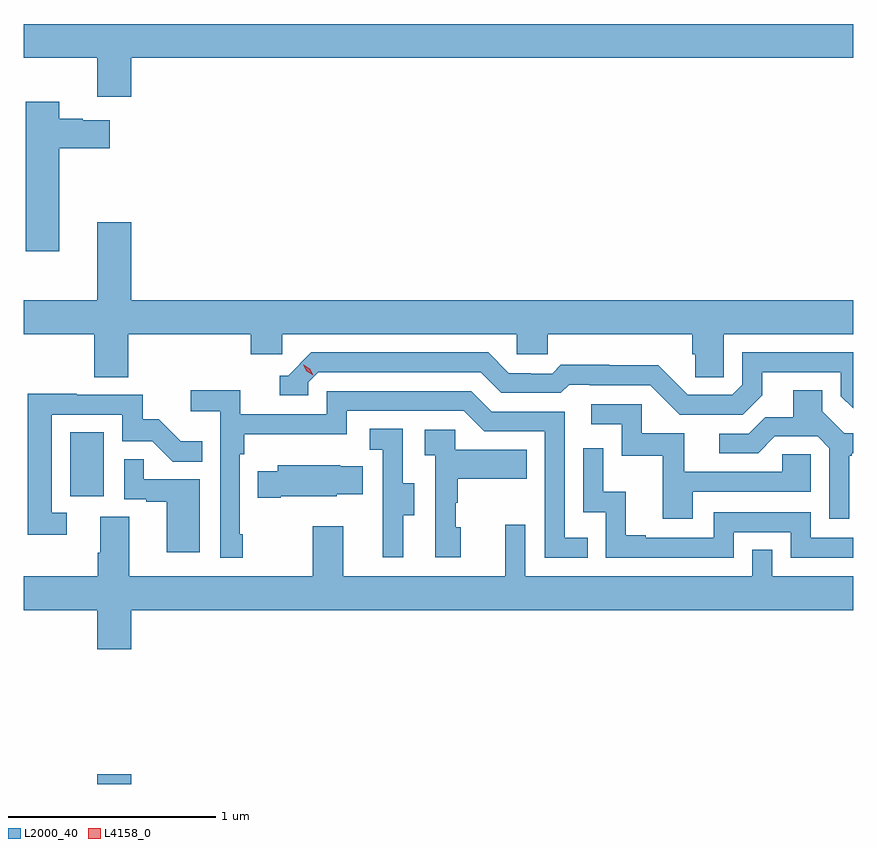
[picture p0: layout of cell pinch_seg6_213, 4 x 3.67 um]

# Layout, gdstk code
import gdstk
lib = gdstk.Library(unit=1e-6, precision=1e-09)
def R(c, l, rs):  # rectangles x0, y0, x1, y1
    for r in rs: c.add(gdstk.rectangle(r[:2], r[2:], *l))
def P(c, l, *ps):  # polygons
    for p in ps: c.add(gdstk.Polygon(p, *l))
L2000_40 = (2000, 40)
L4158_0 = (4158, 0)

pinch_seg6_213 = lib.new_cell('pinch_seg6_213')
R(pinch_seg6_213, L2000_40, [(1142.03,927.849,1142.194,927.895), (1141.898,929.238,1142.062,929.545)])
P(pinch_seg6_213, L2000_40, [(1142.194,931.352),(1145.676,931.352),(1145.676,931.516),(1141.676,931.516),(1141.676,931.352),(1142.03,931.352),(1142.03,931.164),(1142.194,931.164)],
  [(1141.846,930.917),(1142.089,930.917),(1142.089,931.051),(1141.959,931.051),(1141.959,931.059),(1141.846,931.059),(1141.846,931.141),(1141.685,931.141),(1141.685,930.42),(1141.846,930.42)],
  [(1142.18,930.02),(1142.771,930.02),(1142.771,929.922),(1142.922,929.922),(1142.922,930.02),(1144.053,930.02),(1144.053,929.922),(1144.203,929.922),(1144.203,930.02),(1144.901,930.02),(1144.901,929.922),(1144.915,929.922),(1144.915,929.812),(1145.052,929.812),(1145.052,930.02),(1145.676,930.02),(1145.676,930.184),(1142.194,930.184),(1142.194,930.559),(1142.03,930.559),(1142.03,930.184),(1141.676,930.184),(1141.676,930.02),(1142.015,930.02),(1142.015,929.812),(1142.18,929.812)],
  [(1145.239,929.725),(1145.239,929.835),(1145.616,929.835),(1145.616,929.721),(1145.676,929.661),(1145.676,929.931),(1145.142,929.931),(1145.142,929.775),(1145.094,929.727),(1144.878,929.727),(1144.736,929.869),(1144.5,929.869),(1144.5,929.872),(1144.267,929.872),(1144.225,929.829),(1144.122,929.829),(1144.122,929.832),(1144.015,929.832),(1143.916,929.931),(1143.063,929.931),(1142.952,929.82),(1142.909,929.82),(1142.909,929.724),(1143.048,929.724),(1143.048,929.787),(1143.096,929.835),(1143.879,929.835),(1143.978,929.736),(1144.267,929.736),(1144.306,929.775),(1144.405,929.775),(1144.405,929.772),(1144.698,929.772),(1144.839,929.631),(1145.145,929.631)],
  [(1145.659,929.433),(1145.671,929.433),(1145.671,929.444),(1145.676,929.444),(1145.676,929.541),(1145.634,929.541),(1145.527,929.648),(1145.527,929.75),(1145.387,929.75),(1145.387,929.618),(1145.252,929.618),(1145.172,929.538),(1145.031,929.538),(1145.031,929.445),(1145.218,929.445),(1145.299,929.526),(1145.505,929.526),(1145.562,929.469),(1145.562,929.13),(1145.659,929.13)],
  [(1142.731,929.053),(1142.718,929.053),(1142.718,929.441),(1142.738,929.441),(1142.738,929.537),(1143.234,929.537),(1143.234,929.649),(1143.798,929.649),(1143.897,929.55),(1144.188,929.55),(1144.188,928.941),(1144.397,928.941),(1144.397,929.037),(1144.284,929.037),(1144.284,929.646),(1143.934,929.646),(1143.835,929.745),(1143.138,929.745),(1143.138,929.634),(1142.72,929.634),(1142.72,929.75),(1142.481,929.75),(1142.481,929.648),(1142.622,929.648),(1142.622,928.941),(1142.731,928.941)],
  [(1141.882,929.157),(1141.809,929.157),(1141.809,929.631),(1142.151,929.631),(1142.151,929.502),(1142.295,929.502),(1142.393,929.404),(1142.537,929.404),(1142.537,929.503),(1142.433,929.503),(1142.326,929.61),(1142.25,929.61),(1142.25,929.727),(1141.931,929.727),(1141.931,929.732),(1141.693,929.732),(1141.693,929.052),(1141.882,929.052)],
  [(1144.903,929.259),(1145.472,929.259),(1145.472,929.439),(1145.335,929.439),(1145.335,929.355),(1144.861,929.355),(1144.861,929.541),(1144.656,929.541),(1144.656,929.682),(1144.413,929.682),(1144.413,929.586),(1144.56,929.586),(1144.56,929.433),(1144.759,929.433),(1144.759,929.13),(1144.903,929.13)],
  [(1143.505,929.146),(1143.559,929.146),(1143.559,929.301),(1143.504,929.301),(1143.504,929.564),(1143.345,929.564),(1143.345,929.461),(1143.408,929.461),(1143.408,929.157),(1143.407,929.157),(1143.407,928.944),(1143.505,928.944)],
  [(1143.784,929.088),(1143.759,929.088),(1143.759,929.207),(1143.769,929.207),(1143.769,929.321),(1144.103,929.321),(1144.103,929.461),(1143.756,929.461),(1143.756,929.559),(1143.609,929.559),(1143.609,929.435),(1143.66,929.435),(1143.66,928.944),(1143.784,928.944)],
  [(1145.1,929.064),(1145.376,929.064),(1145.376,928.941),(1145.676,928.941),(1145.676,929.037),(1145.472,929.037),(1145.472,929.16),(1145.004,929.16),(1145.004,929.037),(1144.675,929.037),(1144.675,929.05),(1144.58,929.05),(1144.58,929.258),(1144.47,929.258),(1144.47,929.47),(1144.374,929.47),(1144.374,929.16),(1144.482,929.16),(1144.482,928.941),(1145.1,928.941)],
  [(1142.524,929.319),(1142.255,929.319),(1142.255,929.417),(1142.16,929.417),(1142.16,929.223),(1142.267,929.223),(1142.267,929.211),(1142.366,929.211),(1142.366,928.968),(1142.524,928.968)],
  [(1142.914,929.237),(1143.186,929.237),(1143.186,929.246),(1143.311,929.246),(1143.311,929.383),(1143.203,929.383),(1143.203,929.386),(1142.901,929.386),(1142.901,929.359),(1142.803,929.359),(1142.803,929.23),(1142.914,929.23)],
  [(1142.194,928.688),(1145.676,928.688),(1145.676,928.852),(1145.286,928.852),(1145.286,928.979),(1145.19,928.979),(1145.19,928.852),(1144.095,928.852),(1144.095,929.101),(1143.998,929.101),(1143.998,928.852),(1143.217,928.852),(1143.217,929.092),(1143.07,929.092),(1143.07,928.852),(1142.185,928.852),(1142.185,929.138),(1142.045,929.138),(1142.045,928.964),(1142.033,928.964),(1142.033,928.852),(1141.676,928.852),(1141.676,928.688),(1142.03,928.688),(1142.03,928.5),(1142.194,928.5)])
P(pinch_seg6_213, L4158_0, [(1143.071,929.821),(1143.041,929.84),(1143.024,929.872),(1143.024,929.873),(1143.025,929.873),(1143.055,929.853),(1143.072,929.821),(1143.072,929.821)])

lib.write_gds('pinch_seg6_213.gds')
